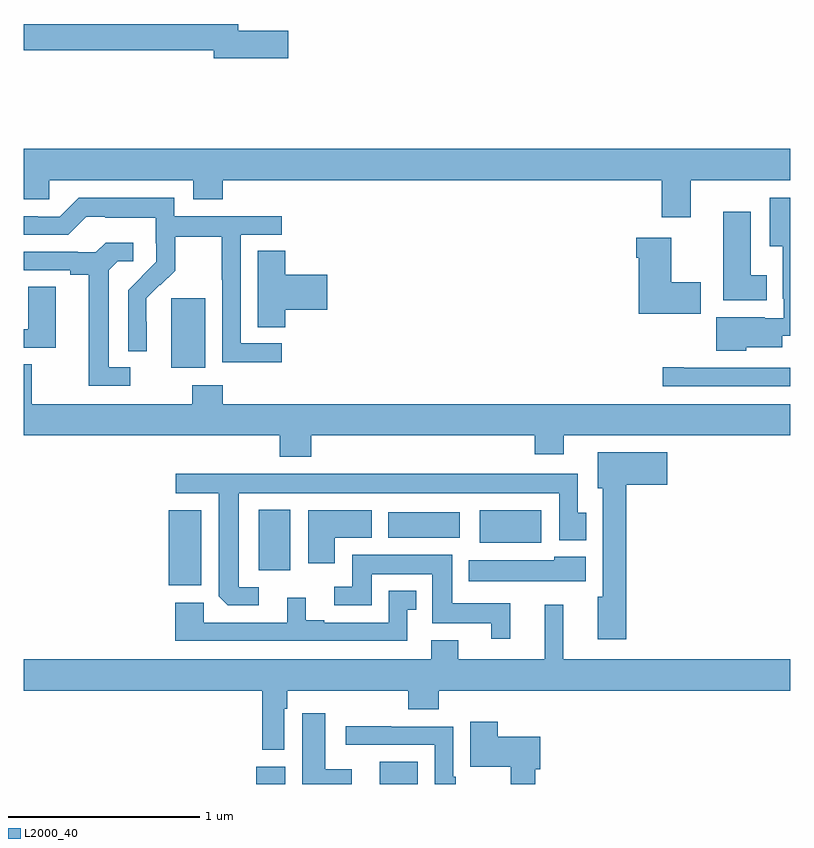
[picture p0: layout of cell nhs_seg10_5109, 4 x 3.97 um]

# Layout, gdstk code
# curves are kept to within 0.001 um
import gdstk
lib = gdstk.Library(unit=1e-6, precision=1e-09)
def R(c, l, rs):  # rectangles x0, y0, x1, y1
    for r in rs: c.add(gdstk.rectangle(r[:2], r[2:], *l))
def P(c, l, *ps):  # polygons
    for p in ps: c.add(gdstk.Polygon(p, *l))
L2000_40 = (2000, 40)

nhs_seg10_5109 = lib.new_cell('nhs_seg10_5109')
R(nhs_seg10_5109, L2000_40, [(408.212,1294.5,408.364,1294.591), (408.857,1294.5,409.057,1294.615), (407.756,1295.537,407.926,1295.929), (408.227,1295.616,408.391,1295.932), (409.379,1295.759,409.702,1295.929), (408.902,1295.786,409.276,1295.92), (407.768,1296.674,407.947,1297.035)])
P(nhs_seg10_5109, L2000_40, [(408.379,1298.432),(408.118,1298.432),(408.118,1298.468),(407,1298.468),(407,1298.332),(407.99,1298.332),(407.99,1298.29),(408.379,1298.29)],
  [(410.482,1297.652),(411,1297.652),(411,1297.816),(407,1297.816),(407,1297.554),(407.133,1297.554),(407.133,1297.652),(407.885,1297.652),(407.885,1297.553),(408.038,1297.553),(408.038,1297.652),(410.33,1297.652),(410.33,1297.458),(410.482,1297.458)],
  [(408.346,1296.801),(408.132,1296.801),(408.132,1297.368),(408.346,1297.368),(408.346,1297.464),(407.784,1297.464),(407.784,1297.561),(407.287,1297.561),(407.187,1297.461),(407.072,1297.461),(407.072,1297.464),(407,1297.464),(407,1297.368),(407.232,1297.368),(407.325,1297.461),(407.425,1297.461),(407.425,1297.457),(407.688,1297.457),(407.688,1297.323),(407.69,1297.323),(407.69,1297.226),(407.544,1297.078),(407.544,1296.76),(407.64,1296.76),(407.639,1297.037),(407.709,1297.107),(407.712,1297.104),(407.789,1297.181),(407.789,1297.356),(408.034,1297.356),(408.034,1297.132),(408.036,1297.132),(408.036,1296.703),(408.346,1296.703)],
  [(410.772,1296.779),(410.959,1296.779),(410.959,1296.84),(411,1296.84),(411,1297.561),(410.894,1297.561),(410.894,1297.307),(410.963,1297.307),(410.963,1297.033),(410.967,1297.033),(410.967,1296.933),(410.867,1296.933),(410.867,1296.937),(410.615,1296.937),(410.615,1296.761),(410.772,1296.761)],
  [(410.878,1297.156),(410.794,1297.156),(410.794,1297.489),(410.651,1297.489),(410.651,1297.025),(410.878,1297.025)],
  [(410.533,1297.119),(410.38,1297.119),(410.38,1297.351),(410.198,1297.351),(410.198,1297.247),(410.21,1297.247),(410.21,1296.956),(410.533,1296.956)],
  [(407.554,1296.675),(407.443,1296.675),(407.443,1297.183),(407.49,1297.23),(407.572,1297.23),(407.572,1297.327),(407.428,1297.327),(407.376,1297.275),(407.282,1297.275),(407.282,1297.278),(407,1297.278),(407,1297.182),(407.243,1297.182),(407.243,1297.16),(407.339,1297.16),(407.339,1296.579),(407.554,1296.579)],
  [(408.365,1296.977),(408.583,1296.977),(408.583,1297.16),(408.365,1297.16),(408.365,1297.283),(408.221,1297.283),(408.221,1296.886),(408.365,1296.886)],
  [(407.167,1297.097),(407.022,1297.097),(407.022,1296.873),(407,1296.873),(407,1296.777),(407.167,1296.777)],
  [(408.5,1296.32),(409.667,1296.32),(409.667,1296.221),(409.819,1296.221),(409.819,1296.32),(411,1296.32),(411,1296.484),(408.038,1296.484),(408.038,1296.583),(407.878,1296.583),(407.878,1296.484),(407.041,1296.484),(407.041,1296.692),(407,1296.692),(407,1296.32),(408.335,1296.32),(408.335,1296.209),(408.5,1296.209)],
  [(411,1296.672),(410.446,1296.672),(410.446,1296.677),(410.334,1296.677),(410.334,1296.576),(411,1296.576)],
  [(410.144,1296.062),(410.359,1296.062),(410.359,1296.232),(409.997,1296.232),(409.997,1296.045),(410.021,1296.045),(410.021,1295.478),(409.997,1295.478),(409.997,1295.256),(410.144,1295.256)],
  [(408.226,1295.526),(408.121,1295.526),(408.121,1296.017),(409.794,1296.017),(409.794,1295.772),(409.936,1295.772),(409.936,1295.916),(409.891,1295.916),(409.891,1296.121),(407.793,1296.121),(407.793,1296.017),(408.017,1296.017),(408.018,1295.479),(408.064,1295.433),(408.226,1295.433)],
  [(408.622,1295.786),(408.817,1295.786),(408.817,1295.929),(408.485,1295.929),(408.485,1295.652),(408.622,1295.652)],
  [(409.538,1295.443),(409.237,1295.443),(409.237,1295.698),(408.713,1295.698),(408.713,1295.529),(408.621,1295.529),(408.621,1295.433),(408.817,1295.433),(408.817,1295.594),(409.133,1295.594),(409.133,1295.339),(409.439,1295.339),(409.439,1295.259),(409.538,1295.259)],
  [(409.933,1295.686),(409.77,1295.686),(409.77,1295.668),(409.322,1295.668),(409.322,1295.558),(409.933,1295.558)],
  [(409.002,1295.409),(409.048,1295.409),(409.048,1295.509),(408.906,1295.509),(408.906,1295.343),(408.568,1295.343),(408.568,1295.356),(408.472,1295.356),(408.472,1295.473),(408.374,1295.473),(408.374,1295.343),(407.94,1295.343),(407.94,1295.446),(407.789,1295.446),(407.789,1295.247),(409.002,1295.247)],
  [(408.36,1294.892),(408.375,1294.892),(408.375,1294.988),(409.006,1294.988),(409.006,1294.889),(409.166,1294.889),(409.166,1294.988),(411,1294.988),(411,1295.152),(409.817,1295.152),(409.817,1295.437),(409.718,1295.437),(409.718,1295.152),(409.267,1295.152),(409.267,1295.251),(409.127,1295.251),(409.127,1295.152),(407,1295.152),(407,1294.988),(408.244,1294.988),(408.244,1294.68),(408.36,1294.68)],
  [(408.712,1294.578),(408.574,1294.578),(408.574,1294.87),(408.453,1294.87),(408.453,1294.757),(408.452,1294.757),(408.452,1294.5),(408.712,1294.5)],
  [(409.67,1294.577),(409.697,1294.577),(409.697,1294.747),(409.475,1294.747),(409.475,1294.825),(409.331,1294.825),(409.331,1294.589),(409.542,1294.589),(409.542,1294.5),(409.67,1294.5)],
  [(409.255,1294.537),(409.242,1294.537),(409.242,1294.8),(408.917,1294.8),(408.917,1294.802),(408.681,1294.802),(408.681,1294.704),(409.146,1294.704),(409.146,1294.5),(409.255,1294.5)])

lib.write_gds('nhs_seg10_5109.gds')
